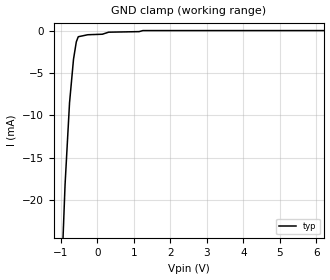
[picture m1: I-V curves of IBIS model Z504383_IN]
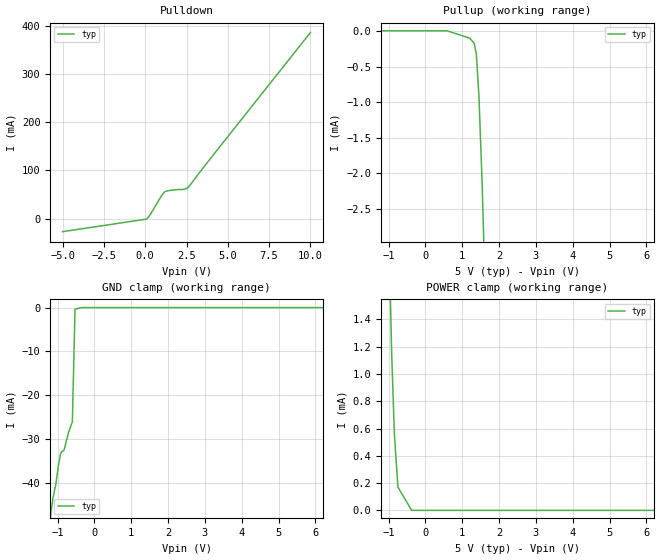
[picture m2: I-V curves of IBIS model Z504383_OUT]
| YOU ARE ONLY AUTHORIZED TO USE THIS SOFTWARE
| ACCORDING TO LICENSOR'S LICENSE RESTRICTIONS.
[IBIS Ver] 3.1
[File Name] sn54ls148j.ibs
[File Rev] 2.0
[Source] Measured and created by ICX Technology
[Date] Friday 7/14/00 9:08:13 AM
[Copyright]
| (C) COPYRIGHT 1993-2000
| MENTOR GRAPHICS CORPORATION
| ICX STANDARD LIBRARY, ICX PROJECT MODELING,
| ICX CUSTOM MODELING, ICX VENDOR MODEL
| ALL RIGHTS RESERVED.
| THE FOLLOWING ARE TRADEMARKS OR SERVICE MARKS OF
| MENTOR GRAPHICS CORPORATION:ICX (R), ICX STANDARD
| LIBRARY(R), ICX PROJECT MODELING(R), ICX CUSTOM
| MODELING(R), qualityIBIS(TM), MODELVIEWER(TM),
| AND MODELEDITOR(TM)
| ALL COPIES OF SOFTWARE, INCLUDING BUT NOT LIMITED TO
| ANY MODIFICATIONS, ENHANCEMENTS OR DERIVATIVE WORKS,
| MUST CONTAIN ALL MENTOR GRAPHICS CORPORATION'S
| NOTICES AND LEGENDS, INCLUDING THOSE EMBEDDED IN
| SOFTWARE AND THOSE AFFIXED TO SOFTWARE MEDIUM
| AND CONTAINER, AS RECEIVED FROM MENTOR GRAPHICS
| CORPORATION.
|  ZAP Model Builder 2.7
[Component] SN54LS148J
[Manufacturer] OnSemiconductor
[Package]
| variable   typ   min   max
R_pkg  .212ohms NA NA
L_pkg  4.758nH NA NA
C_pkg  1.944pF NA NA
[Pin] signal_name  model_name  R_pin  L_pin C_pin
1 _D4 Z504383_IN .224 7.258n 2.683p
2 _D5 Z504383_IN .216 5.258n 2.19p
3 _D6 Z504383_IN .208 3.758n 1.697p
4 _D7 Z504383_IN .2 2.758n 1.204p
5 EI Z504383_IN .2 2.758n 1.204p
6 _Y2 Z504383_OUT .208 3.758n 1.697p
7 _Y1 Z504383_OUT .216 5.258n 2.19p
8 GND GND .224 7.258n 2.683p
9 _Y0 Z504383_OUT .224 7.258n 2.683p
10 _D0 Z504383_IN .216 5.258n 2.19p
11 _D1 Z504383_IN .208 3.758n 1.697p
12 _D2 Z504383_IN .2 2.758n 1.204p
13 _D3 Z504383_IN .2 2.758n 1.204p
14 _GS Z504383_OUT .208 3.758n 1.697p
15 EO Z504383_OUT .216 5.258n 2.19p
16 VCC POWER .224 7.258n 2.683p
| Models and submodels in the file (2): Z504383_IN (Input), Z504383_OUT (Output)
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| (C) COPYRIGHT 1993-2000
| MENTOR GRAPHICS CORPORATION
| ICX STANDARD LIBRARY, ICX PROJECT MODELING,
| ICX CUSTOM MODELING, ICX VENDOR MODEL
| ALL RIGHTS RESERVED.
| THE FOLLOWING ARE TRADEMARKS OR SERVICE MARKS OF
| MENTOR GRAPHICS CORPORATION:ICX (R), ICX STANDARD
| LIBRARY(R), ICX PROJECT MODELING(R), ICX CUSTOM
| MODELING(R), qualityIBIS(TM), MODELVIEWER(TM),
| AND MODELEDITOR(TM)
| ALL COPIES OF SOFTWARE, INCLUDING BUT NOT LIMITED TO
| ANY MODIFICATIONS, ENHANCEMENTS OR DERIVATIVE WORKS,
| MUST CONTAIN ALL MENTOR GRAPHICS CORPORATION'S
| NOTICES AND LEGENDS, INCLUDING THOSE EMBEDDED IN
| SOFTWARE AND THOSE AFFIXED TO SOFTWARE MEDIUM
| AND CONTAINER, AS RECEIVED FROM MENTOR GRAPHICS
| CORPORATION.
| Model Application Version 1.89 2/18/99.
[Model] Z504383_IN
Model_type Input
Vinl = 800.0mV
Vinh = 2.000V
C_comp 4.000pF NA NA
| variable typ   min   max
[Voltage Range] 5.000V NA NA
[GND Clamp Reference] 0.000V NA NA
[POWER Clamp Reference] 5.000V NA NA
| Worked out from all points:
|   GND clamp passes 1 mA (typ) near -0.55 V on its own axis
[GND Clamp]
-5V       -482.5mA   NA         NA
-883.7mV  -18.13mA   NA         NA
-761.6mV  -8.522mA   NA         NA
-652.8mV  -3.385mA   NA         NA
-576.2mV  -1.335mA   NA         NA
-522.7mV  -732.8uA   NA         NA
-261.4mV  -497.2uA   NA         NA
136.7mV   -438.3uA   NA         NA
309.1mV   -196.8uA   NA         NA
1.145V    -130uA     NA         NA
1.246V    -7.454uA   NA         NA
10V       -7.454uA   NA         NA
[POWER Clamp]
-5V       0A         NA         NA
10V       0A         NA         NA
| (C) COPYRIGHT 1993-2000
| MENTOR GRAPHICS CORPORATION
| ICX STANDARD LIBRARY, ICX PROJECT MODELING,
| ICX CUSTOM MODELING, ICX VENDOR MODEL
| ALL RIGHTS RESERVED.
| THE FOLLOWING ARE TRADEMARKS OR SERVICE MARKS OF
| MENTOR GRAPHICS CORPORATION:ICX (R), ICX STANDARD
| LIBRARY(R), ICX PROJECT MODELING(R), ICX CUSTOM
| MODELING(R), qualityIBIS(TM), MODELVIEWER(TM),
| AND MODELEDITOR(TM)
| ALL COPIES OF SOFTWARE, INCLUDING BUT NOT LIMITED TO
| ANY MODIFICATIONS, ENHANCEMENTS OR DERIVATIVE WORKS,
| MUST CONTAIN ALL MENTOR GRAPHICS CORPORATION'S
| NOTICES AND LEGENDS, INCLUDING THOSE EMBEDDED IN
| SOFTWARE AND THOSE AFFIXED TO SOFTWARE MEDIUM
| AND CONTAINER, AS RECEIVED FROM MENTOR GRAPHICS
| CORPORATION.
| Model Application Version 1.89 2/18/99.
[Model] Z504383_OUT
Model_type Output
Vref=5.000V
Rref=2.000kohms
Cref=15.00pF
Vmeas=1.300V
C_comp 8.000pF NA NA
| variable typ   min   max
[Voltage Range] 5.000V NA NA
[POWER Clamp Reference] 5.000V NA NA
[Pullup Reference] 5.000V NA NA
[Pulldown Reference] 0.000V NA NA
[GND Clamp Reference] 0.000V NA NA
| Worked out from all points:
|   slope of the pulldown table from 0 to 0.75 V, typ, clamps not added: 21.2 ohm
|   slope of the pullup table from 0 to 0.75 V, typ, clamps not added: 26.8 kohm
|   GND clamp passes 1 mA (typ) near -0.53 V on its own axis
|   POWER clamp passes 1 mA (typ) near -0.90 V on its own axis
[GND Clamp]
-5V       -385.3mA   NA         NA
-1.177V   -46.43mA   NA         NA
-1.123V   -43.2mA    NA         NA
-1.045V   -40.08mA   NA         NA
-971.9mV  -35.54mA   NA         NA
-918mV    -33.28mA   NA         NA
-820.3mV  -32.31mA   NA         NA
-708.7mV  -28.54mA   NA         NA
-600.5mV  -26.04mA   NA         NA
-527.5mV  -354.5uA   NA         NA
-351.7mV  0A         NA         NA
10V       0A         NA         NA
[Pulldown]
-5V       -27.11mA   NA         NA
68.7mV    -906.2uA   NA         NA
322mV     9.3mA      NA         NA
957.5mV   45.8mA     NA         NA
1.205V    56.15mA    NA         NA
1.66V     59.23mA    NA         NA
2.299V    60.49mA    NA         NA
2.574V    64.15mA    NA         NA
10V       386.5mA    NA         NA
[Pullup]
-5V       6.278uA    NA         NA
586mV     5.006uA    NA         NA
1.202V    -99.42uA   NA         NA
1.323V    -169uA     NA         NA
1.382V    -321uA     NA         NA
1.453V    -912.2uA   NA         NA
1.543V    -2.192mA   NA         NA
10V       -161.5mA   NA         NA
[POWER Clamp]
-5V       56.91mA    NA         NA
-1.043V   2.61mA     NA         NA
-916mV    1.144mA    NA         NA
-844mV    561.6uA    NA         NA
-747mV    170.3uA    NA         NA
-373.5mV  0A         NA         NA
10V       0A         NA         NA
[Ramp]
| variable typ min max
dV/dt_r 1.877/5.236n NA NA
dV/dt_f 1.877/8.334n NA NA
R_load = 500.0Ohms
